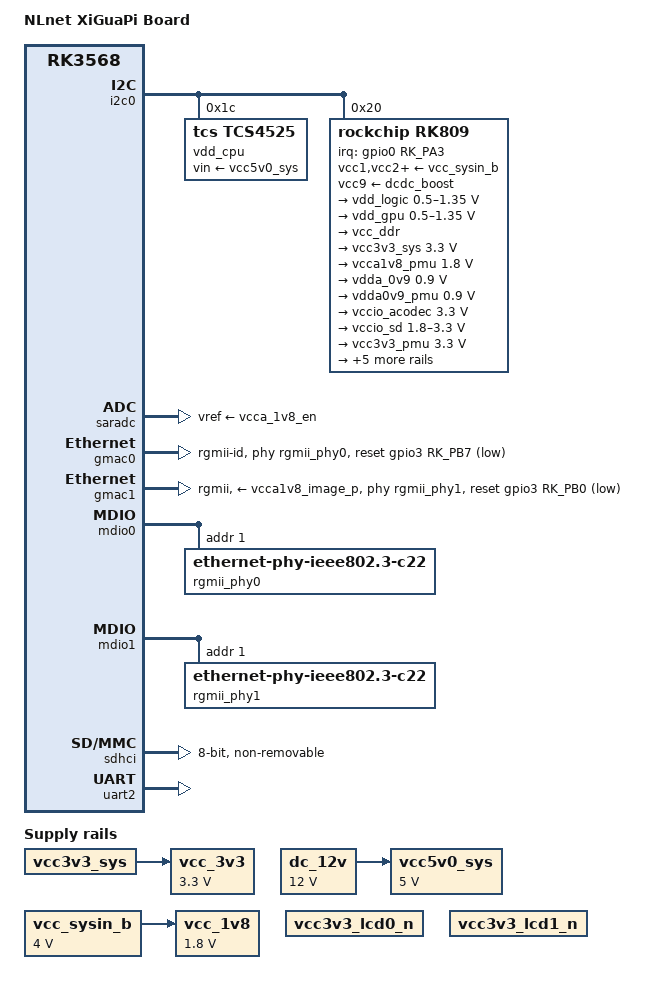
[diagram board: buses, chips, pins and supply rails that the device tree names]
// SPDX-License-Identifier: (GPL-2.0+ OR MIT)

/dts-v1/;
#include <dt-bindings/gpio/gpio.h>
#include <dt-bindings/input/input.h>
#include <dt-bindings/leds/common.h>
#include <dt-bindings/pinctrl/rockchip.h>
#include <dt-bindings/soc/rockchip,vop2.h>
#include "rk3568.dtsi"

/ {
	model = "NLnet XiGuaPi Board";
	compatible = "nlnet,xgp", "rockchip,rk3568";

	aliases {
		mmc0 = &sdmmc0;
		mmc1 = &sdhci;
	};

        dc_12v: dc-12v {
                compatible = "regulator-fixed";
                regulator-name = "dc_12v";
                regulator-always-on;
                regulator-boot-on;
                regulator-min-microvolt = <12000000>;
                regulator-max-microvolt = <12000000>;
        };

	vcc_sysin_b: vcc_sysin_b {
		compatible = "regulator-fixed";
		regulator-name = "vcc_sysin_b";
		regulator-always-on;
		regulator-boot-on;
		regulator-min-microvolt = <4000000>;
		regulator-max-microvolt = <4000000>;
	};

	vcc_3v3: vcc_3v3 {
		compatible = "regulator-fixed";
		regulator-name = "vcc_3v3";
		regulator-min-microvolt = <3300000>;
		regulator-max-microvolt = <3300000>;
		vin-supply = <&vcc3v3_sys>;
	};

	vcc_1v8: vcc_1v8 {
		compatible = "regulator-fixed";
		regulator-name = "vcc_1v8";
		regulator-always-on;
		regulator-boot-on;
		regulator-min-microvolt = <1800000>;
		regulator-max-microvolt = <1800000>;
		vin-supply = <&vcc_sysin_b>;
	};

        vcc5v0_sys: vcc5v0-sys {
                compatible = "regulator-fixed";
                regulator-name = "vcc5v0_sys";
                regulator-always-on;
                regulator-boot-on;
                regulator-min-microvolt = <5000000>;
                regulator-max-microvolt = <5000000>;
                vin-supply = <&dc_12v>;
        };

        vcc3v3_lcd0_n: vcc3v3-lcd0-n {
                compatible = "regulator-fixed";
                regulator-name = "vcc3v3_lcd0_n";
                regulator-boot-on;

                regulator-state-mem {
                        regulator-off-in-suspend;
                };
        };

        vcc3v3_lcd1_n: vcc3v3-lcd1-n {
                compatible = "regulator-fixed";
                regulator-name = "vcc3v3_lcd1_n";
                regulator-boot-on;

                regulator-state-mem {
                        regulator-off-in-suspend;
                };
        };

};

&cpu0 {
	cpu-supply = <&vdd_cpu>;
};

&cpu1 {
	cpu-supply = <&vdd_cpu>;
};

&cpu2 {
	cpu-supply = <&vdd_cpu>;
};

&cpu3 {
	cpu-supply = <&vdd_cpu>;
};

&i2c0 {
	status = "okay";

	vdd_cpu: regulator@1c {
		compatible = "tcs,tcs4525";
		reg = <0x1c>;
		fcs,suspend-voltage-selector = <1>;
		regulator-name = "vdd_cpu";
		regulator-always-on;
		regulator-boot-on;
		regulator-min-microvolt = <800000>;
		regulator-max-microvolt = <1150000>;
		regulator-ramp-delay = <2300>;
		vin-supply = <&vcc5v0_sys>;

		regulator-state-mem {
			regulator-off-in-suspend;
		};
	};

	rk809: pmic@20 {
		compatible = "rockchip,rk809";
		reg = <0x20>;
		interrupt-parent = <&gpio0>;
		interrupts = <RK_PA3 IRQ_TYPE_LEVEL_LOW>;

		pinctrl-names = "default";
		pinctrl-0 = <&pmic_int>;
		rockchip,system-power-controller;
		wakeup-source;
		#clock-cells = <1>;

		vcc1-supply = <&vcc_sysin_b>;
		vcc2-supply = <&vcc_sysin_b>;
		vcc3-supply = <&vcc_sysin_b>;
		vcc4-supply = <&vcc_sysin_b>;
		vcc5-supply = <&vcc_sysin_b>;
		vcc6-supply = <&vcc_sysin_b>;
		vcc7-supply = <&vcc_sysin_b>;
		vcc8-supply = <&vcc_sysin_b>;
		vcc9-supply = <&dcdc_boost>;

		pwrkey {
			status = "okay";
		};

		regulators {
			vdd_logic: DCDC_REG1 {
				regulator-always-on;
				regulator-boot-on;
				regulator-init-microvolt = <900000>;
				regulator-initial-mode = <0x2>;
				regulator-min-microvolt = <500000>;
				regulator-max-microvolt = <1350000>;
				regulator-name = "vdd_logic";
				regulator-ramp-delay = <6001>;

				regulator-state-mem {
					regulator-off-in-suspend;
				};
			};

			vdd_gpu: DCDC_REG2 {
				regulator-always-on;
				regulator-init-microvolt = <900000>;
				regulator-initial-mode = <0x2>;
				regulator-min-microvolt = <500000>;
				regulator-max-microvolt = <1350000>;
				regulator-name = "vdd_gpu";
				regulator-ramp-delay = <6001>;

				regulator-state-mem {
					regulator-off-in-suspend;
				};
			};

			vcc_ddr: DCDC_REG3 {
				regulator-always-on;
				regulator-boot-on;
				regulator-initial-mode = <0x2>;
				regulator-name = "vcc_ddr";

				regulator-state-mem {
					regulator-on-in-suspend;
				};
			};

			vcc3v3_sys: DCDC_REG4 {
				regulator-always-on;
				regulator-boot-on;
				regulator-min-microvolt = <3300000>;
				regulator-max-microvolt = <3300000>;
				regulator-initial-mode = <0x2>;
				regulator-name = "vcc3v3_sys";
				regulator-state-mem {
					regulator-off-in-suspend;
				};
			};

			vcca1v8_pmu: LDO_REG1 {
				regulator-always-on;
				regulator-boot-on;
				regulator-min-microvolt = <1800000>;
				regulator-max-microvolt = <1800000>;
				regulator-name = "vcca1v8_pmu";
				regulator-state-mem {
					regulator-on-in-suspend;
					regulator-suspend-microvolt = <1800000>;
				};
			};

			vdda_0v9: LDO_REG2 {
				regulator-always-on;
				regulator-boot-on;
				regulator-min-microvolt = <900000>;
				regulator-max-microvolt = <900000>;
				regulator-name = "vdda_0v9";

				regulator-state-mem {
					regulator-off-in-suspend;
				};
			};

			vdda0v9_pmu: LDO_REG3 {
				regulator-always-on;
				regulator-boot-on;
				regulator-min-microvolt = <900000>;
				regulator-max-microvolt = <900000>;
				regulator-name = "vdda0v9_pmu";

				regulator-state-mem {
					regulator-on-in-suspend;
					regulator-suspend-microvolt = <900000>;
				};
			};

			vccio_acodec: LDO_REG4 {
				regulator-always-on;
				regulator-min-microvolt = <3300000>;
				regulator-max-microvolt = <3300000>;
				regulator-name = "vccio_acodec";

				regulator-state-mem {
					regulator-off-in-suspend;
				};
			};

			vccio_sd: LDO_REG5 {
				regulator-min-microvolt = <1800000>;
				regulator-max-microvolt = <3300000>;
				regulator-name = "vccio_sd";

				regulator-state-mem {
					regulator-off-in-suspend;
				};
			};

			vcc3v3_pmu: LDO_REG6 {
				regulator-always-on;
				regulator-boot-on;
				regulator-min-microvolt = <3300000>;
				regulator-max-microvolt = <3300000>;
				regulator-name = "vcc3v3_pmu";

				regulator-state-mem {
					regulator-on-in-suspend;
					regulator-suspend-microvolt = <3300000>;
				};
			};

			vcca_1v8_en: LDO_REG7 {
				regulator-always-on;
				regulator-boot-on;
				regulator-min-microvolt = <1800000>;
				regulator-max-microvolt = <1800000>;
				regulator-name = "vcca_1v8_en";

				regulator-state-mem {
					regulator-off-in-suspend;
				};
			};

			vdda0v9_image_p: LDO_REG8 {
				regulator-boot-on;
				regulator-always-on;
				regulator-min-microvolt = <900000>;
				regulator-max-microvolt = <900000>;
				regulator-name = "vdda0v9_image_p";
				regulator-state-mem {
					regulator-off-in-suspend;
				};
			};

			vcca1v8_image_p: LDO_REG9 {
				regulator-always-on;
				regulator-boot-on;
				regulator-min-microvolt = <1800000>;
				regulator-max-microvolt = <1800000>;
				regulator-name = "vcca1v8_image_p";
				regulator-state-mem {
					regulator-off-in-suspend;
				};
			};

			dcdc_boost: BOOST {
				regulator-always-on;
				regulator-boot-on;
				regulator-min-microvolt = <4700000>;
				regulator-max-microvolt = <5400000>;
				regulator-name = "boost";
				regulator-state-mem {
					regulator-off-in-suspend;
				};
			};

			otg_switch: OTG_SWITCH {
				regulator-name = "otg_switch";
				regulator-state-mem {
					regulator-off-in-suspend;
				};
			};
		};
	};
};

&pinctrl {
	pmic {
		pmic_int: pmic_int {
			rockchip,pins = <0 RK_PA3 RK_FUNC_GPIO &pcfg_pull_up>;
		};
	};
};

&saradc {
   vref-supply = <&vcca_1v8_en>;
	status = "okay";
};

&gmac0 {
	assigned-clocks = <&cru SCLK_GMAC0_RX_TX>, <&cru SCLK_GMAC0>;
	assigned-clock-parents = <&cru SCLK_GMAC0_RGMII_SPEED>;
	assigned-clock-rates = <0>, <125000000>;
	clock_in_out = "output";
	phy-mode = "rgmii-id";
	pinctrl-names = "default";
	pinctrl-0 = <&gmac0_miim
		     &gmac0_tx_bus2
		     &gmac0_rx_bus2
		     &gmac0_rgmii_clk
		     &gmac0_rgmii_bus>;
	snps,reset-gpio = <&gpio3 RK_PB7 GPIO_ACTIVE_LOW>;
	snps,reset-active-low;
	snps,reset-delays-us = <0 20000 100000>;
	tx_delay = <0x3c>;
	rx_delay = <0x2f>;
	phy-handle = <&rgmii_phy0>;
	status = "okay";
};

&gmac1 {
	assigned-clocks = <&cru SCLK_GMAC1_RX_TX>, <&cru SCLK_GMAC1>;
	assigned-clock-parents = <&cru SCLK_GMAC1_RGMII_SPEED>;
	assigned-clock-rates = <0>, <125000000>;
	clock_in_out = "output";
	phy-mode = "rgmii";
	pinctrl-names = "default";
	pinctrl-0 = <&gmac1m1_miim
		     &gmac1m1_tx_bus2
		     &gmac1m1_rx_bus2
		     &gmac1m1_rgmii_clk
		     &gmac1m1_rgmii_bus>;
	snps,reset-gpio = <&gpio3 RK_PB0 GPIO_ACTIVE_LOW>;
	snps,reset-active-low;
	snps,reset-delays-us = <0 20000 100000>;
	tx_delay = <0x3c>;
	rx_delay = <0x2f>;
	phy-handle = <&rgmii_phy1>;
	phy-supply = <&vcca1v8_image_p>;
	status = "okay";
};

&mdio0 {
	rgmii_phy0: ethernet-phy@0 {
		compatible = "ethernet-phy-ieee802.3-c22";
		reg = <0x1>;
	};
};

&mdio1 {
	rgmii_phy1: ethernet-phy@0 {
		compatible = "ethernet-phy-ieee802.3-c22";
		reg = <0x1>;
	};
};

&sdhci {
        bus-width = <8>;
        max-frequency = <200000000>;
        non-removable;
        status = "okay";
};

&uart2 {
        status = "okay";
};
